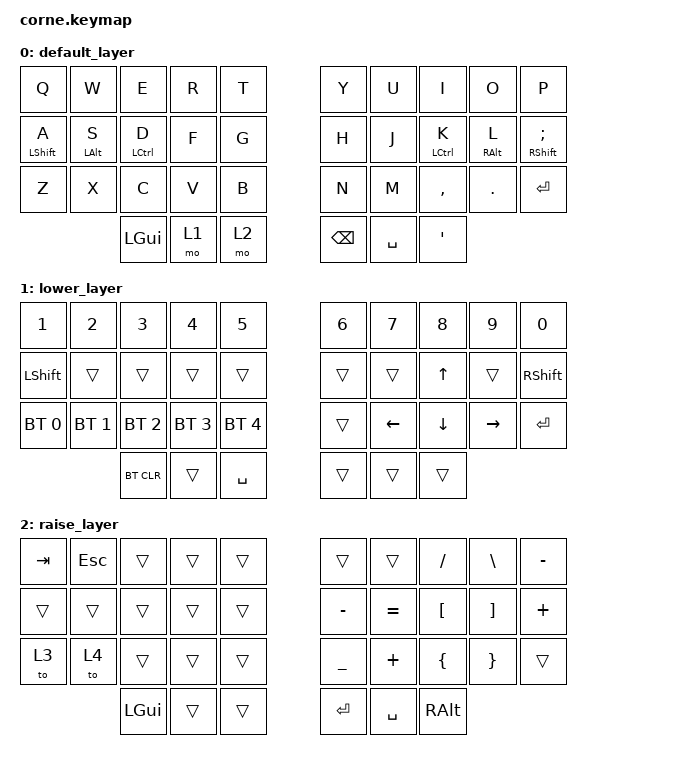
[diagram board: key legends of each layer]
/*
 * Copyright (c) 2020 The ZMK Contributors
 *
 * SPDX-License-Identifier: MIT
 */

#include <behaviors.dtsi>
#include <dt-bindings/zmk/bt.h>
#include <dt-bindings/zmk/keys.h>

// 5 column setup

/ {
    chosen { 
        zmk,physical-layout = &foostan_corne_5col_layout; };
};

/ {
    behaviors {
        hold_tap: hold_tap {
            compatible = "zmk,behavior-hold-tap";
            label = "HOLD_TAP";
            bindings = <&kp>, <&kp>;

            #binding-cells = <2>;
            tapping-term-ms = <250>;
            flavor = "balanced";
            hold-trigger-on-release;
            quick-tap-ms = <175>;
            require-prior-idle-ms = <150>;
            hold-trigger-key-positions = <10 11 12 17 18 19>;
        };
    };

    keymap {
        compatible = "zmk,keymap";

        default_layer {
            // -----------------------------------------------------------------------------------------
            // |  Q  |  W  |  E  |  R  |  T  |   |  Y  |  U   |  I  |  O  |  P  |
            // |  A  |  S  |  D  |  F  |  G  |   |  H  |  J   |  K  |  L  |  ;  |
            // |  Z  |  X  |  C  |  V  |  B  |   |  N  |  M   |  ,  |  .  |  /  |
            //                    | GUI | LWR | SPC/SHFT |   | ENT | RSE  | BSPC |

            bindings = <
  &kp Q                   &kp W                 &kp E              &kp R  &kp T    &kp Y          &kp U      &kp I              &kp O                  &kp P
  &hold_tap LEFT_SHIFT A  &hold_tap LEFT_ALT S  &hold_tap LCTRL D  &kp F  &kp G    &kp H          &kp J      &hold_tap LCTRL K  &hold_tap RIGHT_ALT L  &hold_tap RIGHT_SHIFT SEMICOLON
  &kp Z                   &kp X                 &kp C              &kp V  &kp B    &kp N          &kp M      &kp COMMA          &kp DOT                &kp ENTER
                                                &kp LGUI           &mo 1  &mo 2    &kp BACKSPACE  &kp SPACE  &kp SQT
            >;
        };

        lower_layer {
            // -----------------------------------------------------------------------------------------
            // |  1  |  2  |  3  |  4  |  5  |   |  6  |  7  |  8  |  9  |  0  |
            // | BT1 | BT2 | BT3 | BT4 | BT5 |   | LFT | DWN |  UP | RGT |     |
            // |     |     |     |     |     |   |     |     |     |     |     |
            //                    | GUI |     | SPC/SHFT |   | ENT |     | ALT |

            bindings = <
  &kp N1          &kp N2        &kp N3        &kp N4        &kp N5          &kp N6    &kp N7    &kp N8          &kp N9     &kp N0
  &kp LEFT_SHIFT  &trans        &trans        &trans        &trans          &trans    &trans    &kp UP_ARROW    &trans     &kp RIGHT_SHIFT
  &bt BT_SEL 0    &bt BT_SEL 1  &bt BT_SEL 2  &bt BT_SEL 3  &bt BT_SEL 4    &trans    &kp LEFT  &kp DOWN_ARROW  &kp RIGHT  &kp ENTER
                                &bt BT_CLR    &trans        &kp SPACE       &trans  &trans    &trans
            >;
        };

        raise_layer {
            // -----------------------------------------------------------------------------------------
            // |  !  |  @  |  #  |  $  |  %  |   |  ^  |  &  |  *  |  (  |  )  |
            // |     |     |     |     |  '  |   |  -  |  =  |  [  |  ]  |  \  |
            // |     |     |     |     |     |   |  _  |  +  |  {  |  }  | "|" |
            //                    | GUI |     | SPC/SHFT |   | ENT |     | ALT |

            bindings = <
  &kp TAB  &kp ESCAPE  &trans    &trans  &trans    &trans     &trans     &kp SLASH  &kp BACKSLASH  &kp MINUS
  &trans   &trans      &trans    &trans  &trans    &kp MINUS  &kp EQUAL  &kp LBKT   &kp RBKT       &kp PLUS
  &to 3    &to 4       &trans    &trans  &trans    &kp UNDER  &kp PLUS   &kp LBRC   &kp RBRC       &trans
                       &kp LGUI  &trans  &trans    &kp RET    &kp SPACE  &kp RALT
            >;
        };

           extra_1 {
                        status = "reserved";
                };

                extra_2 {
                        status = "reserved";
                };

                extra_3 {
                        status = "reserved";
                };
    };
};
